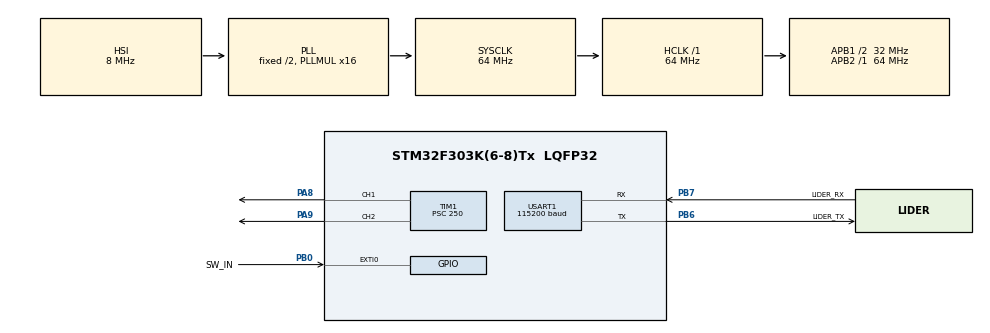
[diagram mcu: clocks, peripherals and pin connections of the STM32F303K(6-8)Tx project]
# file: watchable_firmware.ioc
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Mcu.Family=STM32F3
Mcu.Name=STM32F303K(6-8)Tx
Mcu.Package=LQFP32
NVIC.EXTI0_IRQn=true\:0\:0\:false\:false\:true\:true\:true
NVIC.PriorityGroup=NVIC_PRIORITYGROUP_4
NVIC.USART1_IRQn=true\:0\:0\:true\:false\:true\:true\:true
PA8.GPIO_PuPd=GPIO_PULLDOWN
PA8.Signal=S_TIM1_CH1
PA9.GPIO_PuPd=GPIO_PULLDOWN
PA9.Signal=S_TIM1_CH2
PB0.GPIO_Label=SW_IN
PB0.GPIO_ModeDefaultEXTI=GPIO_MODE_IT_FALLING
PB0.GPIO_PuPd=GPIO_PULLUP
PB0.Signal=GPXTI0
PB6.GPIO_Label=LIDER_TX
PB6.GPIO_ModeDefaultPP=GPIO_MODE_AF_OD
PB6.GPIO_PuPd=GPIO_PULLUP
PB6.Mode=Asynchronous
PB6.Signal=USART1_TX
PB7.GPIO_Label=LIDER_RX
PB7.GPIO_ModeDefaultPP=GPIO_MODE_AF_OD
PB7.GPIO_PuPd=GPIO_PULLUP
PB7.Mode=Asynchronous
PB7.Signal=USART1_RX
ProjectManager.HeapSize=0x200
ProjectManager.StackSize=0x400
ProjectManager.TargetToolchain=STM32CubeIDE
RCC.AHBFreq_Value=64000000
RCC.APB1CLKDivider=RCC_HCLK_DIV2
RCC.APB1Freq_Value=32000000
RCC.APB1TimFreq_Value=64000000
RCC.APB2Freq_Value=64000000
RCC.APB2TimFreq_Value=64000000
RCC.CortexFreq_Value=64000000
RCC.HCLKFreq_Value=64000000
RCC.HSE_VALUE=8000000
RCC.HSI_VALUE=8000000
RCC.PLLMUL=RCC_PLL_MUL16
RCC.SYSCLKFreq_VALUE=64000000
RCC.SYSCLKSourceVirtual=RCC_SYSCLKSOURCE_PLLCLK
SH.S_TIM1_CH1.0=TIM1_CH1,PWM Generation1 CH1
SH.S_TIM1_CH2.0=TIM1_CH2,PWM Generation2 CH2
TIM1.AutoReloadPreload=TIM_AUTORELOAD_PRELOAD_ENABLE
TIM1.Channel-PWM\ Generation1\ CH1=TIM_CHANNEL_1
TIM1.Channel-PWM\ Generation2\ CH2=TIM_CHANNEL_2
TIM1.Period=255
TIM1.Prescaler=250
USART1.BaudRate=115200
USART1.VirtualMode-Asynchronous=VM_ASYNC
VP_TIM1_VS_ClockSourceINT.Mode=Internal
board=custom

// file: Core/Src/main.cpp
/* USER CODE BEGIN Header */
/* USER CODE END Header */
#include "main.h"

/* USER CODE BEGIN Includes */
#include <functional>
#include "led.hpp"
#include "params.hpp"
#include "interrupt.hpp"
#include "stm32f3xx_it.h"
#include "uart.hpp"
#include "rplider.h"
#include "switch.hpp"
/* USER CODE END Includes */

TIM_HandleTypeDef htim1;

UART_HandleTypeDef huart1;

void SystemClock_Config(void);
static void MX_GPIO_Init(void);
static void MX_USART1_UART_Init(void);
static void MX_TIM1_Init(void);

int main(void)
{

  /* MCU Configuration--------------------------------------------------------*/

  /* Reset of all peripherals, Initializes the Flash interface and the Systick. */
  HAL_Init();

  /* Configure the system clock */
  SystemClock_Config();

  /* Initialize all configured peripherals */
  MX_GPIO_Init();
  MX_USART1_UART_Init();
  MX_TIM1_Init();
  /* USER CODE BEGIN 2 */
  LED led(&htim1);
  Switch sw(SW_IN_GPIO_Port, SW_IN_Pin, EXTI_IRQ_Accessor);
  //UART uart(&huart1, UART_IRQ_Accessor);
  //RPLIDER lider(uart, SysTick_Accessor);

  std::function<void(void)> systick_func = [&](){
	  static uint64_t count = 0;
	  if(sw.isRead())
	  {
		  count = 0;
	  }
	  if(count < COUNT_G_TO_Y)
	  {
		  led.setColor(LED::Color::G);
		  ++count;
	  }
	  else if(count - COUNT_G_TO_Y  < COUNT_Y_TO_R)
	  {
		  led.setColor(LED::Color::Y);
		  ++count;
	  }
	  else
	  {
		  led.setColor(LED::Color::R);
	  }
  };

  //led.setColor(LED::Color::G);
  InterruptAccessor systick_it(SysTick_Accessor, systick_func);

  /*
  std::function<void(void)> a = [&]()
  		  {
	  	  	  static bool i = false;
	  	  	  //led.setColor(i ? LED::Color::G : LED::Color::R);
	  	  	  i = !i;
  		  };
  		  */
  //InterruptAccessor uart_it(USART1_IRQ_Accessor, a);

  //uart.receiveDataIT();
  //lider.transmitCmd(RPLIDER::command::SCAN);
  /* USER CODE END 2 */

  /* Infinite loop */
  while (1)
  {

  }
}

void SystemClock_Config(void)
{
  RCC_OscInitTypeDef RCC_OscInitStruct = {0};
  RCC_ClkInitTypeDef RCC_ClkInitStruct = {0};
  RCC_PeriphCLKInitTypeDef PeriphClkInit = {0};

  /** Initializes the RCC Oscillators according to the specified parameters
  * in the RCC_OscInitTypeDef structure.
  */
  RCC_OscInitStruct.OscillatorType = RCC_OSCILLATORTYPE_HSI;
  RCC_OscInitStruct.HSIState = RCC_HSI_ON;
  RCC_OscInitStruct.HSICalibrationValue = RCC_HSICALIBRATION_DEFAULT;
  RCC_OscInitStruct.PLL.PLLState = RCC_PLL_ON;
  RCC_OscInitStruct.PLL.PLLSource = RCC_PLLSOURCE_HSI;
  RCC_OscInitStruct.PLL.PLLMUL = RCC_PLL_MUL16;
  if (HAL_RCC_OscConfig(&RCC_OscInitStruct) != HAL_OK)
  {
    Error_Handler();
  }
  /** Initializes the CPU, AHB and APB buses clocks
  */
  RCC_ClkInitStruct.ClockType = RCC_CLOCKTYPE_HCLK|RCC_CLOCKTYPE_SYSCLK
                              |RCC_CLOCKTYPE_PCLK1|RCC_CLOCKTYPE_PCLK2;
  RCC_ClkInitStruct.SYSCLKSource = RCC_SYSCLKSOURCE_PLLCLK;
  RCC_ClkInitStruct.AHBCLKDivider = RCC_SYSCLK_DIV1;
  RCC_ClkInitStruct.APB1CLKDivider = RCC_HCLK_DIV2;
  RCC_ClkInitStruct.APB2CLKDivider = RCC_HCLK_DIV1;

  if (HAL_RCC_ClockConfig(&RCC_ClkInitStruct, FLASH_LATENCY_2) != HAL_OK)
  {
    Error_Handler();
  }
  PeriphClkInit.PeriphClockSelection = RCC_PERIPHCLK_USART1|RCC_PERIPHCLK_TIM1;
  PeriphClkInit.Usart1ClockSelection = RCC_USART1CLKSOURCE_PCLK1;
  PeriphClkInit.Tim1ClockSelection = RCC_TIM1CLK_HCLK;
  if (HAL_RCCEx_PeriphCLKConfig(&PeriphClkInit) != HAL_OK)
  {
    Error_Handler();
  }
}

static void MX_TIM1_Init(void)
{

  TIM_ClockConfigTypeDef sClockSourceConfig = {0};
  TIM_MasterConfigTypeDef sMasterConfig = {0};
  TIM_OC_InitTypeDef sConfigOC = {0};
  TIM_BreakDeadTimeConfigTypeDef sBreakDeadTimeConfig = {0};

  htim1.Instance = TIM1;
  htim1.Init.Prescaler = 250;
  htim1.Init.CounterMode = TIM_COUNTERMODE_UP;
  htim1.Init.Period = 255;
  htim1.Init.ClockDivision = TIM_CLOCKDIVISION_DIV1;
  htim1.Init.RepetitionCounter = 0;
  htim1.Init.AutoReloadPreload = TIM_AUTORELOAD_PRELOAD_ENABLE;
  if (HAL_TIM_Base_Init(&htim1) != HAL_OK)
  {
    Error_Handler();
  }
  sClockSourceConfig.ClockSource = TIM_CLOCKSOURCE_INTERNAL;
  if (HAL_TIM_ConfigClockSource(&htim1, &sClockSourceConfig) != HAL_OK)
  {
    Error_Handler();
  }
  if (HAL_TIM_PWM_Init(&htim1) != HAL_OK)
  {
    Error_Handler();
  }
  sMasterConfig.MasterOutputTrigger = TIM_TRGO_RESET;
  sMasterConfig.MasterOutputTrigger2 = TIM_TRGO2_RESET;
  sMasterConfig.MasterSlaveMode = TIM_MASTERSLAVEMODE_DISABLE;
  if (HAL_TIMEx_MasterConfigSynchronization(&htim1, &sMasterConfig) != HAL_OK)
  {
    Error_Handler();
  }
  sConfigOC.OCMode = TIM_OCMODE_PWM1;
  sConfigOC.Pulse = 0;
  sConfigOC.OCPolarity = TIM_OCPOLARITY_HIGH;
  sConfigOC.OCNPolarity = TIM_OCNPOLARITY_HIGH;
  sConfigOC.OCFastMode = TIM_OCFAST_DISABLE;
  sConfigOC.OCIdleState = TIM_OCIDLESTATE_RESET;
  sConfigOC.OCNIdleState = TIM_OCNIDLESTATE_RESET;
  if (HAL_TIM_PWM_ConfigChannel(&htim1, &sConfigOC, TIM_CHANNEL_1) != HAL_OK)
  {
    Error_Handler();
  }
  if (HAL_TIM_PWM_ConfigChannel(&htim1, &sConfigOC, TIM_CHANNEL_2) != HAL_OK)
  {
    Error_Handler();
  }
  sBreakDeadTimeConfig.OffStateRunMode = TIM_OSSR_DISABLE;
  sBreakDeadTimeConfig.OffStateIDLEMode = TIM_OSSI_DISABLE;
  sBreakDeadTimeConfig.LockLevel = TIM_LOCKLEVEL_OFF;
  sBreakDeadTimeConfig.DeadTime = 0;
  sBreakDeadTimeConfig.BreakState = TIM_BREAK_DISABLE;
  sBreakDeadTimeConfig.BreakPolarity = TIM_BREAKPOLARITY_HIGH;
  sBreakDeadTimeConfig.BreakFilter = 0;
  sBreakDeadTimeConfig.Break2State = TIM_BREAK2_DISABLE;
  sBreakDeadTimeConfig.Break2Polarity = TIM_BREAK2POLARITY_HIGH;
  sBreakDeadTimeConfig.Break2Filter = 0;
  sBreakDeadTimeConfig.AutomaticOutput = TIM_AUTOMATICOUTPUT_DISABLE;
  if (HAL_TIMEx_ConfigBreakDeadTime(&htim1, &sBreakDeadTimeConfig) != HAL_OK)
  {
    Error_Handler();
  }
  HAL_TIM_MspPostInit(&htim1);

}

static void MX_USART1_UART_Init(void)
{

  huart1.Instance = USART1;
  huart1.Init.BaudRate = 115200;
  huart1.Init.WordLength = UART_WORDLENGTH_8B;
  huart1.Init.StopBits = UART_STOPBITS_1;
  huart1.Init.Parity = UART_PARITY_NONE;
  huart1.Init.Mode = UART_MODE_TX_RX;
  huart1.Init.HwFlowCtl = UART_HWCONTROL_NONE;
  huart1.Init.OverSampling = UART_OVERSAMPLING_16;
  huart1.Init.OneBitSampling = UART_ONE_BIT_SAMPLE_DISABLE;
  huart1.AdvancedInit.AdvFeatureInit = UART_ADVFEATURE_NO_INIT;
  if (HAL_UART_Init(&huart1) != HAL_OK)
  {
    Error_Handler();
  }

}

static void MX_GPIO_Init(void)
{
  GPIO_InitTypeDef GPIO_InitStruct = {0};

  /* GPIO Ports Clock Enable */
  __HAL_RCC_GPIOB_CLK_ENABLE();
  __HAL_RCC_GPIOA_CLK_ENABLE();

  /*Configure GPIO pin : SW_IN_Pin */
  GPIO_InitStruct.Pin = SW_IN_Pin;
  GPIO_InitStruct.Mode = GPIO_MODE_IT_FALLING;
  GPIO_InitStruct.Pull = GPIO_PULLUP;
  HAL_GPIO_Init(SW_IN_GPIO_Port, &GPIO_InitStruct);

  /* EXTI interrupt init*/
  HAL_NVIC_SetPriority(EXTI0_IRQn, 0, 0);
  HAL_NVIC_EnableIRQ(EXTI0_IRQn);

}

void Error_Handler(void)
{
}

/************************ (C) COPYRIGHT STMicroelectronics *****END OF FILE****/
